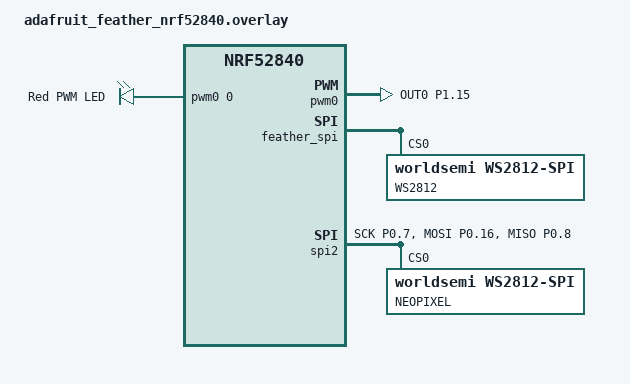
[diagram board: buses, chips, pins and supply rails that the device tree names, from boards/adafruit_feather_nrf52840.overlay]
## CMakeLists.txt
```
#
# Copyright (c) 2020 Nordic Semiconductor ASA
#
# SPDX-License-Identifier: LicenseRef-Nordic-5-Clause
#
cmake_minimum_required(VERSION 3.20.0)

set(PM_STATIC_YML_FILE
  ${CMAKE_CURRENT_SOURCE_DIR}/boards/pm_static_${BOARD}.yml
  )

find_package(Zephyr REQUIRED HINTS $ENV{ZEPHYR_BASE})
project(NONE)

# NORDIC SDK APP START
FILE(GLOB app_sources src/*.c)
target_sources(app PRIVATE ${app_sources})
target_include_directories(app PRIVATE include)
# NORDIC SDK APP END

# Preinitialization related to Thingy:53 DFU
target_sources_ifdef(CONFIG_BOARD_THINGY53_NRF5340_CPUAPP app PRIVATE
  boards/thingy53.c
)
target_sources_ifdef(CONFIG_BOARD_THINGY53_NRF5340_CPUAPP_NS app PRIVATE
  boards/thingy53.c
)
```

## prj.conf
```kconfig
#
# Copyright (c) 2020 Nordic Semiconductor ASA
#
# SPDX-License-Identifier: LicenseRef-Nordic-5-Clause
#
CONFIG_NCS_SAMPLES_DEFAULTS=y

# General configuration
CONFIG_SYSTEM_WORKQUEUE_STACK_SIZE=2048
CONFIG_MAIN_STACK_SIZE=4096
CONFIG_BT_RX_STACK_SIZE=4096
CONFIG_BT_MESH_ADV_STACK_SIZE=4096
CONFIG_FLASH=y
CONFIG_FLASH_MAP=y
CONFIG_NVS=y
CONFIG_SETTINGS=y
CONFIG_HWINFO=y
CONFIG_DK_LIBRARY=y
CONFIG_PWM=y
CONFIG_PARTITION_MANAGER_ENABLED=y
CONFIG_PM_SINGLE_IMAGE=y
CONFIG_PM_PARTITION_SIZE_SETTINGS_STORAGE=0x8000

# Bluetooth configuration
CONFIG_BT=y
CONFIG_BT_SMP=y
CONFIG_BT_COMPANY_ID=0x0059
CONFIG_BT_DEVICE_NAME="Mesh Light Fixture"
CONFIG_BT_L2CAP_DYNAMIC_CHANNEL=y
CONFIG_BT_L2CAP_TX_MTU=69
CONFIG_BT_L2CAP_TX_BUF_COUNT=8
CONFIG_BT_OBSERVER=y
CONFIG_BT_PERIPHERAL=y

# Disable unused Bluetooth features
CONFIG_BT_CTLR_DUP_FILTER_LEN=0
CONFIG_BT_CTLR_LE_ENC=n
CONFIG_BT_DATA_LEN_UPDATE=n
CONFIG_BT_PHY_UPDATE=n
CONFIG_BT_CTLR_CHAN_SEL_2=n
CONFIG_BT_CTLR_MIN_USED_CHAN=n
CONFIG_BT_CTLR_PRIVACY=n

# Bluetooth mesh configuration
CONFIG_BT_MESH=y
CONFIG_BT_MESH_RELAY=y
CONFIG_BT_MESH_FRIEND=y
CONFIG_BT_MESH_ADV_BUF_COUNT=13
CONFIG_BT_MESH_TX_SEG_MAX=10
CONFIG_BT_MESH_TX_SEG_MSG_COUNT=3
CONFIG_BT_MESH_PB_GATT=y
CONFIG_BT_MESH_PROXY_USE_DEVICE_NAME=y
CONFIG_BT_MESH_GATT_PROXY=y
CONFIG_BT_MESH_DK_PROV=y

# Bluetooth mesh models
CONFIG_BT_MESH_LIGHT_CTRL_SRV=y
CONFIG_BT_MESH_LIGHT_CTRL_SRV_TIME_ON=300
CONFIG_BT_MESH_LIGHT_CTRL_SRV_OCCUPANCY_DELAY=500
CONFIG_BT_MESH_LIGHT_CTRL_SRV_TIME_FADE_ON=1000
CONFIG_BT_MESH_LIGHT_CTRL_SRV_TIME_PROLONG=120
CONFIG_BT_MESH_LIGHT_CTRL_SRV_TIME_FADE_PROLONG=1000
CONFIG_BT_MESH_LIGHT_CTRL_SRV_TIME_FADE_STANDBY_AUTO=1000
CONFIG_BT_MESH_LIGHT_CTRL_SRV_TIME_FADE_STANDBY_MANUAL=1000
CONFIG_BT_MESH_LIGHT_CTRL_SRV_TIME_MANUAL=30
CONFIG_BT_MESH_LIGHT_CTRL_SRV_RESUME_DELAY=0
CONFIG_BT_MESH_LIGHT_HSL_SRV=y

# Debug Logging
CONFIG_PRINTK=y
CONFIG_LOG=y
CONFIG_LOG_PRINTK=y
CONFIG_LOG_MODE_MINIMAL=n
CONFIG_LOG_MODE_DEFERRED=y
#CONFIG_LOG_MODE_IMMEDIATE=y
CONFIG_BT_DEBUG_LOG=y
CONFIG_BT_MESH_DEBUG=y
CONFIG_BT_MESH_DEBUG_MODEL=y
CONFIG_BT_MESH_DEBUG_SETTINGS=y
CONFIG_USE_SEGGER_RTT=y
CONFIG_UART_RTT=y
CONFIG_RTT_CONSOLE=y
CONFIG_LOG_BACKEND_RTT=y

# Neopixel LED Strip Support
CONFIG_LED_STRIP=y
CONFIG_LED_STRIP_LOG_LEVEL_DBG=y
CONFIG_WS2812_STRIP=y
```

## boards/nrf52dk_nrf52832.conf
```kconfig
CONFIG_GPIO=y
CONFIG_PWM=y
CONFIG_PINCTRL=y
CONFIG_SPI=y
CONFIG_WS2812_STRIP_SPI=y

# This driver only uses spi_write() with the SPIM instance it allocates,
# so PAN 58 doesn't matter, because the RX length is always 0.
CONFIG_SOC_NRF52832_ALLOW_SPIM_DESPITE_PAN_58=y
```

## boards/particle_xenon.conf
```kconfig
CONFIG_GPIO=y
CONFIG_PWM=y
CONFIG_PINCTRL=y
CONFIG_SPI=y
CONFIG_WS2812_STRIP_SPI=y
```

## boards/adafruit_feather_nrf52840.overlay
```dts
#include <dt-bindings/led/led.h>

#include "../include/nrf52-bindings.h"

/ {
    pwmleds {
        compatible = "pwm-leds";
        red_led_pwm: led_pwm_0 {
                pwms = <&pwm0 0 PWM_MSEC(20) PWM_POLARITY_INVERTED>;
                label = "Red PWM LED";
        };
    };

    aliases {
        board-neopixel = &board_neopixel;
        led-strip = &led_strip;
        pwm-led0 = &red_led_pwm;
    };
};

&pinctrl {
    pwm0_default: pwm0_default {
		group1 {
			psels = <NRF_PSEL(PWM_OUT0, 1, 15)>;
			nordic,invert;
		};
	};

	pwm0_sleep: pwm0_sleep {
		group1 {
			psels = <NRF_PSEL(PWM_OUT0, 1, 15)>;
			low-power-enable;
		};
	};

    spi2_default: spi2_default {
        group1 {
            psels = <NRF_PSEL(SPIM_SCK, 0, 7)>,
                    <NRF_PSEL(SPIM_MOSI, 0, 16)>,
                    <NRF_PSEL(SPIM_MISO, 0, 8)>;
        };
    };

    spi2_sleep: spi2_sleep {
        group1 {
            psels = <NRF_PSEL(SPIM_SCK, 0, 7)>,
                    <NRF_PSEL(SPIM_MOSI, 0, 16)>,
                    <NRF_PSEL(SPIM_MISO, 0, 8)>;
            low-power-enable;
        };
    };
};

&pwm0 {
    status = "okay";
    pinctrl-0 = <&pwm0_default>;
	pinctrl-1 = <&pwm0_sleep>;
	pinctrl-names = "default", "sleep";
};

&feather_spi { /* MOSI on feather_spi1 */
    compatible = "nordic,nrf-spim";

    led_strip: ws2812@0 {
        compatible = "worldsemi,ws2812-spi";
        label = "WS2812";

        /* SPI */
        reg = <0>; /* ignored, but necessary for SPI bindings */
        spi-max-frequency = <SPI_FREQ>;

        /* WS2812 */
        chain-length = <8>; /* arbitrary; change at will */
        color-mapping = <LED_COLOR_ID_GREEN
                    LED_COLOR_ID_RED
                    LED_COLOR_ID_BLUE>;
        spi-one-frame = <ONE_FRAME>;
        spi-zero-frame = <ZERO_FRAME>;
    };
};

&spi2 {
    compatible = "nordic,nrf-spim";
    status = "okay";
    pinctrl-0 = <&spi2_default>;
    pinctrl-1 = <&spi2_sleep>;
    pinctrl-names = "default", "sleep";

    board_neopixel: ws2812@0 {
        compatible = "worldsemi,ws2812-spi";
        label = "NEOPIXEL";

        /* SPI */
        reg = <0>; /* ignored, but necessary for SPI bindings */
        spi-max-frequency = <SPI_FREQ>;

        /* WS2812 */
        chain-length = <1>; /* arbitrary; change at will */
        color-mapping = <LED_COLOR_ID_GREEN
                    LED_COLOR_ID_RED
                    LED_COLOR_ID_BLUE>;
        spi-one-frame = <ONE_FRAME>;
        spi-zero-frame = <ZERO_FRAME>;
    };
};
```

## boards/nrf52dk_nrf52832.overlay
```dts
#include <dt-bindings/led/led.h>

#include "../include/nrf52-bindings.h"

&spi1 {
    compatible = "nordic,nrf-spim";

    led_strip: ws2812@0 {
        compatible = "worldsemi,ws2812-spi";
        label = "WS2812";

        /* SPI */
        reg = <0>; /* ignored, but necessary for SPI bindings */
        spi-max-frequency = <SPI_FREQ>;

        /* WS2812 */
        chain-length = <8>; /* arbitrary; change at will */
        color-mapping = <LED_COLOR_ID_GREEN
                    LED_COLOR_ID_RED
                    LED_COLOR_ID_BLUE>;
        spi-one-frame = <ONE_FRAME>;
        spi-zero-frame = <ZERO_FRAME>;
    };

};

/ {
    aliases {
        led-strip = &led_strip;
    };
};
```

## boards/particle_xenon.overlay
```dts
#include <dt-bindings/led/led.h>

#include "../include/nrf52-bindings.h"

#include <../boards/arm/particle_xenon/dts/mesh_feather_spi_spi1.dtsi>

/ {
    pwmleds {
        compatible = "pwm-leds";
        red_led_pwm: led_pwm_0 {
                pwms = <&pwm0 0 PWM_MSEC(20) PWM_POLARITY_INVERTED>;
                label = "Red PWM LED";
        };

        green_led_pwm: led_pwm_1 {
                pwms = <&pwm0 1 PWM_MSEC(20) PWM_POLARITY_INVERTED>;
                label = "Green PWM LED";
        };

        blue_led_pwm: led_pwm_2 {
                pwms = <&pwm0 2 PWM_MSEC(20) PWM_POLARITY_INVERTED>;
                label = "Blue PWM LED";
        };
    };

    aliases {
        led0 = &status_red;
        led1 = &status_green;
        led2 = &status_blue;
        led3 = &user_led;
        pwm-led0 = &red_led_pwm;
        pwm-led1 = &green_led_pwm;
        pwm-led2 = &blue_led_pwm;
        led-strip = &led_strip;
    };
};

&pinctrl {
    pwm0_default: pwm0_default {
		group1 {
			psels = <NRF_PSEL(PWM_OUT0, 0, 13)>,
                    <NRF_PSEL(PWM_OUT1, 0, 14)>,
                    <NRF_PSEL(PWM_OUT2, 0, 15)>;
			nordic,invert;
		};
	};

	pwm0_sleep: pwm0_sleep {
		group1 {
			psels = <NRF_PSEL(PWM_OUT0, 0, 13)>,
                    <NRF_PSEL(PWM_OUT1, 0, 14)>,
                    <NRF_PSEL(PWM_OUT2, 0, 15)>;
			low-power-enable;
		};
	};
};

&pwm0 {
    status = "okay";
    pinctrl-0 = <&pwm0_default>;
	pinctrl-1 = <&pwm0_sleep>;
	pinctrl-names = "default", "sleep";
};

&feather_spi { /* MOSI on feather_spi1 */
    compatible = "nordic,nrf-spim";

    led_strip: ws2812@0 {
        compatible = "worldsemi,ws2812-spi";
        label = "WS2812";

        /* SPI */
        reg = <0>; /* ignored, but necessary for SPI bindings */
        spi-max-frequency = <SPI_FREQ>;

        /* WS2812 */
        chain-length = <8>; /* arbitrary; change at will */
        color-mapping = <LED_COLOR_ID_GREEN
                    LED_COLOR_ID_RED
                    LED_COLOR_ID_BLUE>;
        spi-one-frame = <ONE_FRAME>;
        spi-zero-frame = <ZERO_FRAME>;
    };
};
```

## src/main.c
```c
/*
 * Copyright (c) 2020 Nordic Semiconductor ASA
 *
 * SPDX-License-Identifier: LicenseRef-Nordic-5-Clause
 */

/** @file
 *  @brief Nordic mesh light fixture sample
 */
#include <zephyr/bluetooth/bluetooth.h>
#include <bluetooth/mesh/models.h>
#include <bluetooth/mesh/dk_prov.h>
#include <dk_buttons_and_leds.h>
#include "model_handler.h"
#include "lc_pwm_led.h"
#include "led_strip.h"

#include <logging/log.h>

LOG_MODULE_REGISTER(app_light_ctrl, LOG_LEVEL_INF);

static void bt_ready(int err)
{
	if (err) {
		printk("Bluetooth init failed (err %d)\n", err);
		return;
	}

	printk("Bluetooth initialized\n");

	dk_leds_init();
	dk_buttons_init(NULL);

	err = bt_mesh_init(bt_mesh_dk_prov_init(), model_handler_init());
	if (err) {
		printk("Initializing mesh failed (err %d)\n", err);
		return;
	}

	if (IS_ENABLED(CONFIG_SETTINGS)) {
		settings_load();
	}

	/* This will be a no-op if settings_load() loaded provisioning info */
	bt_mesh_prov_enable(BT_MESH_PROV_ADV | BT_MESH_PROV_GATT);

	printk("Mesh initialized\n");

	model_handler_start();
}

void main(void)
{
	int err;

	printk("Initializing...\n");

	printk("Verifying Hardware Connectivity...\n");
	err = init_led_strip();
	if (err) {
		printk("LED Strip initialization failed...\n");
	}
	
	err = init_neopixel();
	if (err) {
		printk("Neopixel initialization failed...\n");
	}

	//lc_pwm_led_init();
	err = bt_enable(bt_ready);
	if (err) {
		printk("Bluetooth init failed (err %d)\n", err);
	}
}
```

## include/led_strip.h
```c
#ifndef __APP_LED_STRIP_H
#define __APP_LED_STRIP_H

#ifdef __cplusplus
extern "C" {
#endif

#include <stdint.h>

#define SCALE_16_TO_8(_val) ((uint8_t)((_val / (float)UINT16_MAX) * UINT8_MAX))

int init_led_strip(void);
void update_led_strip(void);
void set_led_strip(uint16_t red, uint16_t green, uint16_t blue);

#ifdef __cplusplus
}
#endif

#endif
```

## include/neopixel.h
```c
#ifndef __APP_NEOPIXEL_H
#define __APP_NEOPIXEL_H

#ifdef __cplusplus
extern "C" {
#endif

#define RGB(_r, _g, _b) { .r = (_r), .g = (_g), .b = (_b) }
#define SET_DIR(_input, _dir, _min, _max, _incr) if ((_dir && _input > (_max - _incr)) || (!_dir && _input < (_incr - _min))) { _dir = !_dir; }
#define SAFE_BOUNCE(_input, _dir, _min, _max, _incr) MIN(MAX(_min, (_input + (_dir ? _incr : (-1 * _incr)))), _max)

int init_neopixel(void);
void update_neopixel(void);
void set_neopixel(uint8_t r, uint8_t g, uint8_t b);

#ifdef __cplusplus
}
#endif

#endif
```

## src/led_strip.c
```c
#include <zephyr.h>
#include <device.h>
#include <logging/log.h>
#include <drivers/led_strip.h>
#include <drivers/spi.h>

#include "led_strip.h"
#include "neopixel.h"

LOG_MODULE_REGISTER(app_led_strip, LOG_LEVEL_DBG);

#define STRIP_NODE		DT_ALIAS(led_strip)
#define STRIP_NUM_PIXELS	DT_PROP(STRIP_NODE, chain_length)

static const struct led_rgb colors[] = {
	RGB(0x0f, 0x00, 0x00), /* red */
	RGB(0x00, 0x0f, 0x00), /* green */
	RGB(0x00, 0x00, 0x0f), /* blue */
};

struct led_rgb pixels[STRIP_NUM_PIXELS];
static const struct device *strip = DEVICE_DT_GET(STRIP_NODE);

static bool strip_enabled = false;
static size_t cursor = 0, color = 0;

int init_led_strip(void) {
	if (device_is_ready(strip)) {
		LOG_INF("Found LED strip device %s", strip->name);
		strip_enabled = true;
	} else {
		LOG_ERR("LED strip device %s is not ready", strip->name);
		return -ENOTSUP;
	}

    // Exercise the LEDs a bit to give user feedback
    set_led_strip(UINT16_MAX, 0, 0);
    k_sleep(K_MSEC(250));
    set_led_strip(0, UINT16_MAX, 0);
    k_sleep(K_MSEC(250));
    set_led_strip(0, 0, UINT16_MAX);
    k_sleep(K_MSEC(250));
    set_led_strip(0, 0, 0);
    k_sleep(K_MSEC(250));
    for(int i = 0; i < 2*STRIP_NUM_PIXELS; i++) {
        update_led_strip();
        k_sleep(K_MSEC(100));
    }
    set_led_strip(0, 0, 0);

    return 0;    

}

void set_led_strip(uint16_t red, uint16_t green, uint16_t blue) {
    if (!strip_enabled) { return; }

    struct led_rgb color = RGB(SCALE_16_TO_8(red), SCALE_16_TO_8(green), SCALE_16_TO_8(blue));

    LOG_INF("Setting LED Strip to color: (%d, %d, %d)", color.r, color.g, color.b);

    memset(&pixels, 0x00, sizeof(pixels));
    for(int i = 0; i < STRIP_NUM_PIXELS; i++) 
    { 
        memcpy(&pixels[i], &color, sizeof(struct led_rgb));
    }

    int rc = led_strip_update_rgb(strip, pixels, STRIP_NUM_PIXELS);
    if (rc) {
        LOG_ERR("couldn't update strip: %d", rc);
    }
}

void update_led_strip(void) {
    if (!strip_enabled) { return; }

	if (cursor == 0) {
        LOG_INF("Displaying pattern on strip");
    }

    memset(&pixels, 0x00, sizeof(pixels));
    memcpy(&pixels[cursor], &colors[color], sizeof(struct led_rgb));
    int rc = led_strip_update_rgb(strip, pixels, STRIP_NUM_PIXELS);

    if (rc) {
        LOG_ERR("couldn't update strip: %d", rc);
    }

    cursor++;
    if (cursor >= STRIP_NUM_PIXELS) {
        cursor = 0;
        color++;
        if (color == ARRAY_SIZE(colors)) {
            color = 0;
        }
    }
}
```

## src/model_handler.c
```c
/*
 * Copyright (c) 2020 Nordic Semiconductor ASA
 *
 * SPDX-License-Identifier: LicenseRef-Nordic-5-Clause
 */

#include <zephyr/bluetooth/bluetooth.h>
#include <bluetooth/mesh/models.h>
#include <bluetooth/mesh/light_hsl.h>
#include <bluetooth/mesh/light_hue_srv.h>
#include <bluetooth/mesh/light_sat_srv.h>
#include <bluetooth/mesh/light_hsl_srv.h>
#include <dk_buttons_and_leds.h>
#include "model_handler.h"
#include "led_strip.h"

#include <logging/log.h>
LOG_MODULE_REGISTER(app_model_handler, LOG_LEVEL_INF);

struct light_hsl_ctx {
	const struct bt_mesh_light_hsl_srv *hsl_srv;

	struct k_work_delayable lvl_per_work;
	uint16_t target_lvl;
	uint16_t current_lvl;
	uint32_t lvl_time_per;
	uint32_t lvl_rem_time;

	struct k_work_delayable hue_per_work;
	uint16_t target_hue;
	uint16_t current_hue;
	uint32_t hue_time_per;
	uint32_t hue_rem_time;

	struct k_work_delayable sat_per_work;
	uint16_t target_sat;
	uint16_t current_sat;
	uint32_t sat_time_per;
	uint32_t sat_rem_time;
};

/* Pre-declare local static functions for use in callback definitions */
static void light_set(struct bt_mesh_lightness_srv *srv, struct bt_mesh_msg_ctx *ctx, const struct bt_mesh_lightness_set *set, struct bt_mesh_lightness_status *rsp);
static void light_get(struct bt_mesh_lightness_srv *srv, struct bt_mesh_msg_ctx *ctx, struct bt_mesh_lightness_status *rsp);

static void light_hue_set(struct bt_mesh_light_hue_srv *srv, struct bt_mesh_msg_ctx *ctx, const struct bt_mesh_light_hue *set, struct bt_mesh_light_hue_status *rsp);
static void light_hue_get(struct bt_mesh_light_hue_srv *srv, struct bt_mesh_msg_ctx *ctx, struct bt_mesh_light_hue_status *rsp);
static void light_hue_delta_set(struct bt_mesh_light_hue_srv *srv, struct bt_mesh_msg_ctx *ctx, const struct bt_mesh_light_hue_delta *delta_set, struct bt_mesh_light_hue_status *rsp);
static void light_hue_move_set(struct bt_mesh_light_hue_srv *srv, struct bt_mesh_msg_ctx *ctx, const struct bt_mesh_light_hue_move *move, struct bt_mesh_light_hue_status *rsp);

static void light_sat_set(struct bt_mesh_light_sat_srv *srv, struct bt_mesh_msg_ctx *ctx, const struct bt_mesh_light_sat *set, struct bt_mesh_light_sat_status *rsp);
static void light_sat_get(struct bt_mesh_light_sat_srv *srv, struct bt_mesh_msg_ctx *ctx, struct bt_mesh_light_sat_status *rsp);			  
/* End Pre-declarations */

static const struct bt_mesh_lightness_srv_handlers lightness_srv_handlers = {
	.light_set = light_set,
	.light_get = light_get,
};

static const struct bt_mesh_light_hue_srv_handlers light_hue_handlers = {
	.set = light_hue_set,
	.get = light_hue_get,
	.delta_set = light_hue_delta_set,
	.move_set = light_hue_move_set
};
static const struct bt_mesh_light_sat_srv_handlers light_sat_handlers = {
	.get = light_sat_get,
	.set = light_sat_set
};

static struct bt_mesh_lightness_srv my_lightness_srv = BT_MESH_LIGHTNESS_SRV_INIT(&lightness_srv_handlers);
static struct bt_mesh_light_hsl_srv my_hsl_srv = BT_MESH_LIGHT_HSL_SRV_INIT(&my_lightness_srv, &light_hue_handlers, &light_sat_handlers);

static struct light_hsl_ctx my_hsl_ctx = {
	.hsl_srv = &my_hsl_srv
};

/* Set up a repeating delayed work to blink the DK's LEDs when attention is
 * requested.
 */
static struct k_work_delayable attention_blink_work;
static bool attention;

static void attention_blink(struct k_work *work)
{
	static int idx;
	const uint8_t pattern[] = {
#if DT_NODE_EXISTS(DT_ALIAS(led0))
		BIT(0),
#endif
#if DT_NODE_EXISTS(DT_ALIAS(led1))
		BIT(1),
#endif
#if DT_NODE_EXISTS(DT_ALIAS(led2))
		BIT(2),
#endif
#if DT_NODE_EXISTS(DT_ALIAS(led3))
		BIT(3),
#endif
	};

	if (attention) {
		dk_set_leds(pattern[idx++ % ARRAY_SIZE(pattern)]);
		k_work_reschedule(&attention_blink_work, K_MSEC(30));
	} else {
		dk_set_leds(DK_NO_LEDS_MSK);
	}
}

static void attention_on(struct bt_mesh_model *mod)
{
	attention = true;
	k_work_reschedule(&attention_blink_work, K_NO_WAIT);
}

static void attention_off(struct bt_mesh_model *mod)
{
	/* Will stop rescheduling blink timer */
	attention = false;
}

static const struct bt_mesh_health_srv_cb health_srv_cb = {
	.attn_on = attention_on,
	.attn_off = attention_off,
};

static struct bt_mesh_health_srv health_srv = {
	.cb = &health_srv_cb,
};

BT_MESH_HEALTH_PUB_DEFINE(health_pub, 0);

static void start_new_light_trans(const struct bt_mesh_lightness_set *set,
				  struct light_hsl_ctx *ctx)
{
	uint32_t step_cnt = abs(set->lvl - ctx->current_lvl);
	uint32_t time = set->transition ? set->transition->time : 0;
	uint32_t delay = set->transition ? set->transition->delay : 0;

	ctx->target_lvl = set->lvl;
	ctx->lvl_time_per = (step_cnt ? time / step_cnt : 0);
	ctx->lvl_rem_time = time;
	k_work_reschedule(&ctx->lvl_per_work, K_MSEC(delay));

	printk("New light transition-> Lvl: %d, Time: %d, Delay: %d\n",
	       set->lvl, time, delay);
}

static void periodic_led_work(struct k_work *work)
{
	struct light_hsl_ctx *lh_ctx = &my_hsl_ctx;
	lh_ctx->lvl_rem_time -= lh_ctx->lvl_time_per;

	if ((lh_ctx->lvl_rem_time <= lh_ctx->lvl_time_per) ||
	    (abs(lh_ctx->target_lvl - lh_ctx->current_lvl) <= 1)) {

		struct bt_mesh_lightness_status status = {
			.current = lh_ctx->target_lvl,
			.target = lh_ctx->target_lvl,
		};

		lh_ctx->current_lvl = lh_ctx->target_lvl;
		lh_ctx->lvl_rem_time = 0;

		bt_mesh_lightness_srv_pub(lh_ctx->hsl_srv->lightness, NULL, &status);

		struct bt_mesh_light_hsl_status hsl_status = {
			.params = {
				.hue = lh_ctx->current_hue,
				.lightness = lh_ctx->current_lvl,
				.saturation = lh_ctx->current_sat,
			},
			.remaining_time = 0,
		};

		bt_mesh_light_hsl_srv_pub(lh_ctx->hsl_srv, NULL, &hsl_status);
	} else {
		lh_ctx->current_lvl += lh_ctx->target_lvl > lh_ctx->current_lvl ? 1 : -1;
		k_work_reschedule(&lh_ctx->lvl_per_work, K_MSEC(lh_ctx->lvl_time_per));
	}

	struct bt_mesh_light_hsl hsl = {
		.hue = lh_ctx->current_hue,
		.lightness = lh_ctx->current_lvl,
		.saturation = lh_ctx->current_sat,
	};

	set_led_strip(
		bt_mesh_light_hsl_to_rgb(&hsl, BT_MESH_RGB_CH_RED), 
		bt_mesh_light_hsl_to_rgb(&hsl, BT_MESH_RGB_CH_GREEN),
		bt_mesh_light_hsl_to_rgb(&hsl, BT_MESH_RGB_CH_BLUE));

	printk("Current light lvl: %u/65535\n", lh_ctx->current_lvl);
}

static void light_set(struct bt_mesh_lightness_srv *srv,
		      struct bt_mesh_msg_ctx *ctx,
		      const struct bt_mesh_lightness_set *set,
		      struct bt_mesh_lightness_status *rsp)
{
	struct light_hsl_ctx *lh_ctx = &my_hsl_ctx;

	if (lh_ctx->current_lvl == set->lvl) { 
		// we're already at the desired level, don't start a new transition
		lh_ctx->target_lvl = set->lvl;
		lh_ctx->lvl_rem_time = 0;

		// struct bt_mesh_lightness_status status = {
		// 	.current = lh_ctx->target_lvl,
		// 	.target = lh_ctx->target_lvl,
		// };

		// bt_mesh_lightness_srv_pub(lh_ctx->hsl_srv->lightness, NULL, &status);

		struct bt_mesh_light_hsl hsl = {
			.hue = lh_ctx->current_hue,
			.lightness = lh_ctx->current_lvl,
			.saturation = lh_ctx->current_sat,
		};

		set_led_strip(
			bt_mesh_light_hsl_to_rgb(&hsl, BT_MESH_RGB_CH_RED), 
			bt_mesh_light_hsl_to_rgb(&hsl, BT_MESH_RGB_CH_GREEN),
			bt_mesh_light_hsl_to_rgb(&hsl, BT_MESH_RGB_CH_BLUE));
	}
	else {
		start_new_light_trans(set, lh_ctx);
	}
	rsp->current = lh_ctx->current_lvl;
	rsp->target = lh_ctx->target_lvl;
	rsp->remaining_time = set->transition ? set->transition->time : 0;
}

static void light_get(struct bt_mesh_lightness_srv *srv,
		      struct bt_mesh_msg_ctx *ctx,
		      struct bt_mesh_lightness_status *rsp)
{
	struct light_hsl_ctx *lh_ctx = &my_hsl_ctx;

	rsp->current = lh_ctx->current_lvl;
	rsp->target = lh_ctx->target_lvl;
	rsp->remaining_time = lh_ctx->lvl_rem_time;
}


static void start_new_hue_trans(const struct bt_mesh_light_hue *set,
				  struct light_hsl_ctx *ctx)
{
	uint32_t step_cnt = abs(set->lvl - ctx->current_hue);
	uint32_t time = set->transition ? set->transition->time : 0;
	uint32_t delay = set->transition ? set->transition->delay : 0;

	ctx->target_hue = set->lvl;
	ctx->hue_time_per = (step_cnt ? time / step_cnt : 0);
	ctx->hue_rem_time = time;
	k_work_reschedule(&ctx->hue_per_work, K_MSEC(delay));

	printk("New hue transition-> Lvl: %d, Time: %d, Delay: %d\n",
	       set->lvl, time, delay);
}

static void periodic_hue_work(struct k_work *work)
{
	struct light_hsl_ctx *lh_ctx = &my_hsl_ctx;
	lh_ctx->hue_rem_time -= lh_ctx->hue_time_per;

	if ((lh_ctx->hue_rem_time <= lh_ctx->hue_time_per) ||
	    (abs(lh_ctx->target_hue - lh_ctx->current_hue) <= 1)) {
		struct bt_mesh_light_hsl_status status = {
			.params = {
				.hue = lh_ctx->current_hue,
				.lightness = lh_ctx->current_lvl,
				.saturation = lh_ctx->current_sat,
			},
			.remaining_time = 0,
		};

		lh_ctx->current_hue = lh_ctx->target_hue;
		lh_ctx->hue_rem_time = 0;

		bt_mesh_light_hsl_srv_pub(lh_ctx->hsl_srv, NULL, &status);
	} else {
		lh_ctx->current_hue += lh_ctx->target_hue > lh_ctx->current_hue ? 1 : -1;
		k_work_reschedule(&lh_ctx->hue_per_work, K_MSEC(lh_ctx->hue_time_per));
	}

	struct bt_mesh_light_hsl hsl = {
		.hue = lh_ctx->current_hue,
		.lightness = lh_ctx->current_lvl,
		.saturation = lh_ctx->current_sat,
	};

	set_led_strip(
		bt_mesh_light_hsl_to_rgb(&hsl, BT_MESH_RGB_CH_RED), 
		bt_mesh_light_hsl_to_rgb(&hsl, BT_MESH_RGB_CH_GREEN),
		bt_mesh_light_hsl_to_rgb(&hsl, BT_MESH_RGB_CH_BLUE));

	printk("Current light hue: %u/65535\n", lh_ctx->current_hue);
}

static void light_hue_set(struct bt_mesh_light_hue_srv *srv,
			  struct bt_mesh_msg_ctx *ctx,
			  const struct bt_mesh_light_hue *set,
			  struct bt_mesh_light_hue_status *rsp)
{
	struct light_hsl_ctx *lh_ctx = &my_hsl_ctx;

	if (lh_ctx->current_hue == set->lvl) {
		lh_ctx->target_hue = set->lvl;
		lh_ctx->hue_rem_time = 0;

		// struct bt_mesh_light_hue_status status = {
		// 	.current = lh_ctx->target_hue,
		// 	.target = lh_ctx->target_hue,
		// };

		// int rc = bt_mesh_light_hue_srv_pub(&lh_ctx->hsl_srv->hue, ctx, &status);
		// if (rc < 0) {
		// 	printk("Error publishing hue status update: %u/65535\n", rc);
		// }

		struct bt_mesh_light_hsl hsl = {
			.hue = lh_ctx->current_hue,
			.lightness = lh_ctx->current_lvl,
			.saturation = lh_ctx->current_sat,
		};

		set_led_strip(
			bt_mesh_light_hsl_to_rgb(&hsl, BT_MESH_RGB_CH_RED), 
			bt_mesh_light_hsl_to_rgb(&hsl, BT_MESH_RGB_CH_GREEN),
			bt_mesh_light_hsl_to_rgb(&hsl, BT_MESH_RGB_CH_BLUE));

	}
	else {
		start_new_hue_trans(set, lh_ctx);
	}

	rsp->current = lh_ctx->current_hue;
	rsp->remaining_time = lh_ctx->hue_rem_time;
	rsp->target = lh_ctx->target_hue;
}

static void light_hue_get(struct bt_mesh_light_hue_srv *srv,
			  struct bt_mesh_msg_ctx *ctx,
			  struct bt_mesh_light_hue_status *rsp)
{
	struct light_hsl_ctx *lh_ctx = &my_hsl_ctx;

	rsp->current = lh_ctx->current_hue;
	rsp->remaining_time = lh_ctx->hue_rem_time;
	rsp->target = lh_ctx->target_hue;
}

static void light_hue_delta_set(
		struct bt_mesh_light_hue_srv *srv,
		struct bt_mesh_msg_ctx *ctx,
		const struct bt_mesh_light_hue_delta *delta_set,
		struct bt_mesh_light_hue_status *rsp)
{
	struct light_hsl_ctx *lh_ctx = &my_hsl_ctx;

	// TODO: Actually implement the delta process

	rsp->current = lh_ctx->current_hue;
	rsp->remaining_time = lh_ctx->hue_rem_time;
	rsp->target = lh_ctx->target_hue;
}

static void light_hue_move_set(struct bt_mesh_light_hue_srv *srv,
			       struct bt_mesh_msg_ctx *ctx,
			       const struct bt_mesh_light_hue_move *move,
			       struct bt_mesh_light_hue_status *rsp)
{
	struct light_hsl_ctx *lh_ctx = &my_hsl_ctx;

	// TODO: Actually implement the move process

	rsp->current = lh_ctx->current_hue;
	rsp->remaining_time = lh_ctx->hue_rem_time;
	rsp->target = lh_ctx->target_hue;
}


static void start_new_sat_trans(const struct bt_mesh_light_sat *set,
				  struct light_hsl_ctx *ctx)
{
	uint32_t step_cnt = abs(set->lvl - ctx->current_sat);
	uint32_t time = set->transition ? set->transition->time : 0;
	uint32_t delay = set->transition ? set->transition->delay : 0;

	ctx->target_sat = set->lvl;
	ctx->sat_time_per = (step_cnt ? time / step_cnt : 0);
	ctx->sat_rem_time = time;
	k_work_reschedule(&ctx->sat_per_work, K_MSEC(delay));

	printk("New sat transition-> Lvl: %d, Time: %d, Delay: %d\n",
	       set->lvl, time, delay);
}

static void periodic_sat_work(struct k_work *work)
{
	struct light_hsl_ctx *lh_ctx = &my_hsl_ctx;
	lh_ctx->sat_rem_time -= lh_ctx->sat_time_per;

	if ((lh_ctx->sat_rem_time <= lh_ctx->sat_time_per) ||
	    (abs(lh_ctx->target_sat - lh_ctx->current_sat) <= 1)) {
		struct bt_mesh_light_hsl_status status = {
			.params = {
				.hue = lh_ctx->current_hue,
				.lightness = lh_ctx->current_lvl,
				.saturation = lh_ctx->current_sat,
			},
			.remaining_time = 0,
		};

		lh_ctx->current_sat = lh_ctx->target_sat;
		lh_ctx->sat_rem_time = 0;

		bt_mesh_light_hsl_srv_pub(lh_ctx->hsl_srv, NULL, &status);
	} else {
		lh_ctx->current_sat += lh_ctx->target_sat > lh_ctx->current_sat ? 1 : -1;
		k_work_reschedule(&lh_ctx->sat_per_work, K_MSEC(lh_ctx->sat_time_per));
	}

	struct bt_mesh_light_hsl hsl = {
		.hue = lh_ctx->current_hue,
		.lightness = lh_ctx->current_lvl,
		.saturation = lh_ctx->current_sat,
	};

	set_led_strip(
		bt_mesh_light_hsl_to_rgb(&hsl, BT_MESH_RGB_CH_RED), 
		bt_mesh_light_hsl_to_rgb(&hsl, BT_MESH_RGB_CH_GREEN),
		bt_mesh_light_hsl_to_rgb(&hsl, BT_MESH_RGB_CH_BLUE));

	printk("Current light sat: %u/65535\n", lh_ctx->current_sat);
}

static void light_sat_set(struct bt_mesh_light_sat_srv *srv,
			  struct bt_mesh_msg_ctx *ctx,
			  const struct bt_mesh_light_sat *set,
			  struct bt_mesh_light_sat_status *rsp)
{
	struct light_hsl_ctx *lh_ctx = &my_hsl_ctx;

	if (lh_ctx->current_sat == set->lvl) {
		lh_ctx->target_sat = set->lvl;
		lh_ctx->sat_rem_time = 0;

		// struct bt_mesh_light_sat_status status = {
		// 	.current = lh_ctx->target_sat,
		// 	.target = lh_ctx->target_sat,
		// };

		// bt_mesh_light_sat_srv_pub(&lh_ctx->hsl_srv->sat, NULL, &status);

		struct bt_mesh_light_hsl hsl = {
			.hue = lh_ctx->current_hue,
			.lightness = lh_ctx->current_lvl,
			.saturation = lh_ctx->current_sat,
		};

		set_led_strip(
			bt_mesh_light_hsl_to_rgb(&hsl, BT_MESH_RGB_CH_RED), 
			bt_mesh_light_hsl_to_rgb(&hsl, BT_MESH_RGB_CH_GREEN),
			bt_mesh_light_hsl_to_rgb(&hsl, BT_MESH_RGB_CH_BLUE));
	}
	else {
		start_new_sat_trans(set, lh_ctx);
	}

	rsp->current = lh_ctx->current_sat;
	rsp->remaining_time = lh_ctx->sat_rem_time;
	rsp->target = lh_ctx->target_sat;
}

static void light_sat_get(struct bt_mesh_light_sat_srv *srv,
			  struct bt_mesh_msg_ctx *ctx,
			  struct bt_mesh_light_sat_status *rsp)
{
	struct light_hsl_ctx *lh_ctx = &my_hsl_ctx;

	rsp->current = lh_ctx->current_sat;
	rsp->remaining_time = lh_ctx->sat_rem_time;
	rsp->target = lh_ctx->target_sat;
}

static struct bt_mesh_light_ctrl_srv my_light_ctrl_srv = BT_MESH_LIGHT_CTRL_SRV_INIT(&my_lightness_srv);

static struct bt_mesh_elem elements[] = {
	BT_MESH_ELEM(1,
		     BT_MESH_MODEL_LIST(
			     BT_MESH_MODEL_CFG_SRV,
			     BT_MESH_MODEL_HEALTH_SRV(&health_srv, &health_pub),
			     BT_MESH_MODEL_LIGHTNESS_SRV(&my_lightness_srv),
				 BT_MESH_MODEL_LIGHT_HSL_SRV(&my_hsl_srv)),
		     BT_MESH_MODEL_NONE),
	BT_MESH_ELEM(2,
		     BT_MESH_MODEL_LIST(
				 BT_MESH_MODEL_LIGHT_HUE_SRV(&my_hsl_srv.hue)),
		     BT_MESH_MODEL_NONE),
	BT_MESH_ELEM(3,
			 BT_MESH_MODEL_LIST(
				BT_MESH_MODEL_LIGHT_SAT_SRV(&my_hsl_srv.sat)),
			 BT_MESH_MODEL_NONE),
	BT_MESH_ELEM(4,
			 BT_MESH_MODEL_LIST(
			     BT_MESH_MODEL_LIGHT_CTRL_SRV(&my_light_ctrl_srv)),
			 BT_MESH_MODEL_NONE),
};

static const struct bt_mesh_comp comp = {
	.cid = CONFIG_BT_COMPANY_ID,
	.elem = elements,
	.elem_count = ARRAY_SIZE(elements),
};

const struct bt_mesh_comp *model_handler_init(void)
{
	k_work_init_delayable(&attention_blink_work, attention_blink);
	k_work_init_delayable(&my_hsl_ctx.lvl_per_work, periodic_led_work);
	k_work_init_delayable(&my_hsl_ctx.hue_per_work, periodic_hue_work);
	k_work_init_delayable(&my_hsl_ctx.sat_per_work, periodic_sat_work);

	return &comp;
}

void model_handler_start(void)
{
	int err;

	if (bt_mesh_is_provisioned()) {
		return;
	}

	err = bt_mesh_light_ctrl_srv_enable(&my_light_ctrl_srv);
	if (!err) {
		printk("Successfully enabled LC server\n");
	}
}
```

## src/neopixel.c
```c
#include <zephyr.h>
#include <device.h>
#include <logging/log.h>
#include <drivers/led_strip.h>

#include "neopixel.h"

LOG_MODULE_REGISTER(app_neopixel, LOG_LEVEL_INF);

#define NEOPIXEL_NODE	DT_ALIAS(board_neopixel)

#if DT_NODE_EXISTS(NEOPIXEL_NODE) == 1
static struct led_rgb pixel = RGB(0x00, 0x00, 0x00);
static const struct device *neopixel = DEVICE_DT_GET(NEOPIXEL_NODE);
static bool rClimbing = true, gClimbing = true, bClimbing = true;
#endif

int init_neopixel(void) {
#if DT_NODE_EXISTS(NEOPIXEL_NODE) == 1
	if (device_is_ready(neopixel)) {
		LOG_INF("Found NEOPIXEL device %s", neopixel->name);
	} else {
		LOG_ERR("NEOPIXEL device %s is not ready", neopixel->name);
		return -ENOTSUP;
	}

    set_neopixel(255, 0, 0);
    k_sleep(K_MSEC(500));
    set_neopixel(0, 255, 0);
    k_sleep(K_MSEC(500));
    set_neopixel(0, 0, 255);
    k_sleep(K_MSEC(500));
    set_neopixel(0, 0, 0);
    k_sleep(K_MSEC(500));
    for(int i = 0; i < 100; i++)
    {
        update_neopixel();
        k_sleep(K_MSEC(50));
    }
#endif

    return 0;
}

void set_neopixel(uint8_t r, uint8_t g, uint8_t b)
{
#if DT_NODE_EXISTS(NEOPIXEL_NODE) == 1
    struct led_rgb my_pixel = RGB(r, g, b);
    int rc = led_strip_update_rgb(neopixel, &my_pixel, 1);
    if (rc) {
        LOG_ERR("couldn't update neopixel: %d", rc);
    }
#endif
}

void update_neopixel(void) {
#if DT_NODE_EXISTS(NEOPIXEL_NODE) == 1
    SET_DIR(pixel.r, rClimbing, 0, 255, 10)
    SET_DIR(pixel.g, gClimbing, 0, 255, 7)
    SET_DIR(pixel.b, bClimbing, 0, 255, 2)

    uint8_t newR = SAFE_BOUNCE(pixel.r, rClimbing, 0, 255, 10),
            newG = SAFE_BOUNCE(pixel.g, gClimbing, 0, 255, 7),
            newB = SAFE_BOUNCE(pixel.b, bClimbing, 0, 255, 2);
    pixel.r = newR; 
    pixel.g = newG;
    pixel.b = newB;
    int rc = led_strip_update_rgb(neopixel, &pixel, 1);
    if (rc) {
        LOG_ERR("couldn't update neopixel: %d", rc);
    }
#endif
}
```
